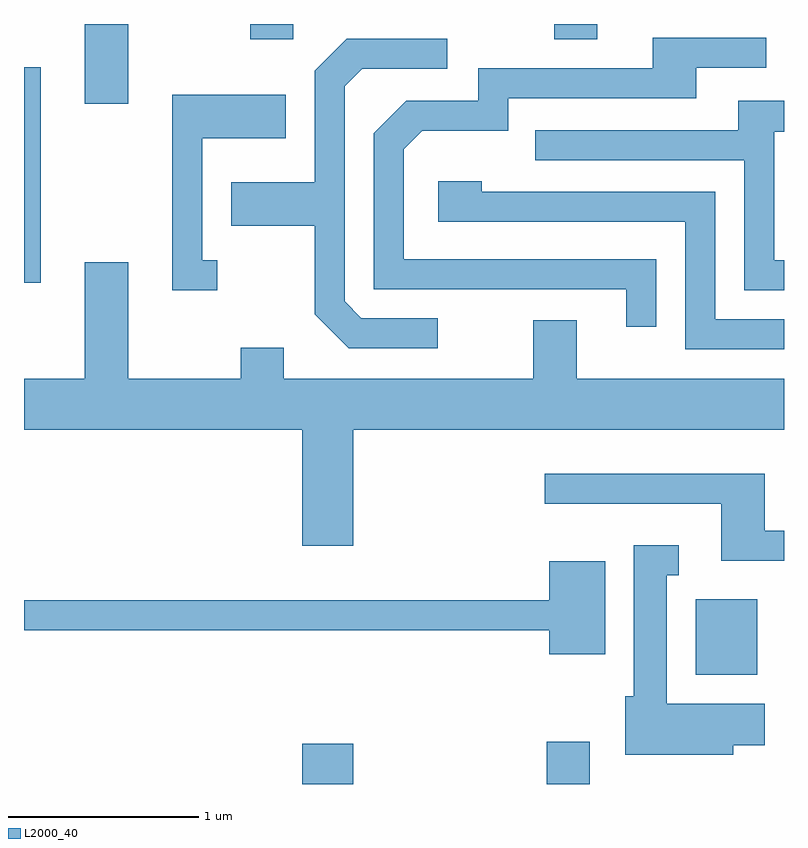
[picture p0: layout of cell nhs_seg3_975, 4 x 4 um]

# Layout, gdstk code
import gdstk
lib = gdstk.Library(unit=1e-6, precision=1e-09)
def R(c, l, rs):  # rectangles x0, y0, x1, y1
    for r in rs: c.add(gdstk.rectangle(r[:2], r[2:], *l))
def P(c, l, *ps):  # polygons
    for p in ps: c.add(gdstk.Polygon(p, *l))
L2000_40 = (2000, 40)

nhs_seg3_975 = lib.new_cell('nhs_seg3_975')
R(nhs_seg3_975, L2000_40, [(215.076,1161.892,215.344,1162.104), (216.361,1161.892,216.589,1162.114), (217.146,1162.466,217.469,1162.864), (213.611,1164.531,213.699,1165.664), (213.931,1165.471,214.159,1165.892), (214.801,1165.811,215.029,1165.892), (216.401,1165.811,216.629,1165.892)])
P(nhs_seg3_975, L2000_40, [(216.939,1164.654),(215.609,1164.654),(215.609,1165.234),(215.707,1165.331),(216.159,1165.331),(216.159,1165.501),(217.149,1165.501),(217.149,1165.661),(217.518,1165.661),(217.518,1165.819),(216.921,1165.819),(216.921,1165.659),(216.001,1165.659),(216.001,1165.489),(215.624,1165.489),(215.451,1165.317),(215.451,1164.496),(216.781,1164.496),(216.781,1164.298),(216.939,1164.298)],
  [(215.788,1164.344),(215.387,1164.344),(215.299,1164.432),(215.299,1165.564),(215.392,1165.656),(215.838,1165.656),(215.838,1165.814),(215.309,1165.814),(215.141,1165.647),(215.141,1165.059),(214.701,1165.059),(214.701,1164.831),(215.141,1164.831),(215.141,1164.364),(215.319,1164.186),(215.788,1164.186)],
  [(214.628,1164.649),(214.549,1164.649),(214.549,1165.291),(214.989,1165.291),(214.989,1165.519),(214.391,1165.519),(214.391,1164.491),(214.628,1164.491)],
  [(217.611,1164.649),(217.559,1164.649),(217.559,1165.326),(217.611,1165.326),(217.611,1165.489),(217.371,1165.489),(217.371,1165.334),(216.303,1165.334),(216.303,1165.176),(217.401,1165.176),(217.401,1164.491),(217.611,1164.491)],
  [(217.611,1164.339),(217.249,1164.339),(217.249,1165.009),(216.019,1165.009),(216.019,1165.064),(215.791,1165.064),(215.791,1164.851),(217.091,1164.851),(217.091,1164.181),(217.611,1164.181)],
  [(215.344,1163.756),(217.611,1163.756),(217.611,1164.024),(216.519,1164.024),(216.519,1164.334),(216.291,1164.334),(216.291,1164.024),(214.979,1164.024),(214.979,1164.189),(214.751,1164.189),(214.751,1164.024),(214.159,1164.024),(214.159,1164.639),(213.931,1164.639),(213.931,1164.024),(213.611,1164.024),(213.611,1163.756),(215.076,1163.756),(215.076,1163.146),(215.344,1163.146)],
  [(217.611,1163.224),(217.509,1163.224),(217.509,1163.524),(216.353,1163.524),(216.353,1163.366),(217.281,1163.366),(217.281,1163.066),(217.611,1163.066)],
  [(217.344,1162.096),(217.509,1162.096),(217.509,1162.314),(216.994,1162.314),(216.994,1162.991),(217.058,1162.991),(217.058,1163.149),(216.821,1163.149),(216.821,1162.354),(216.776,1162.354),(216.776,1162.046),(217.344,1162.046)],
  [(216.669,1163.064),(216.376,1163.064),(216.376,1162.859),(213.611,1162.859),(213.611,1162.701),(216.376,1162.701),(216.376,1162.576),(216.669,1162.576)])

lib.write_gds('nhs_seg3_975.gds')
